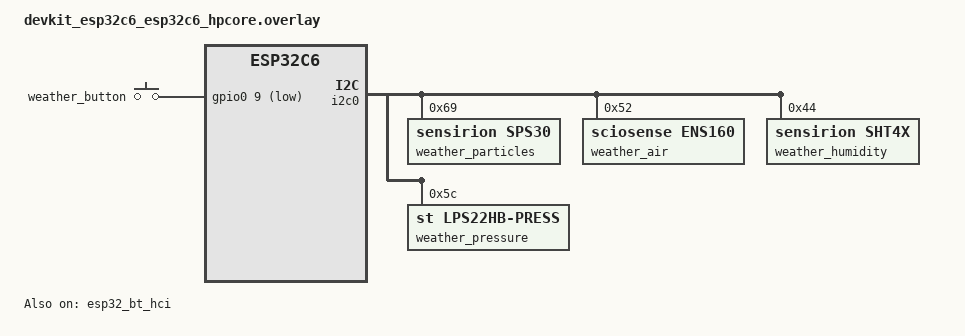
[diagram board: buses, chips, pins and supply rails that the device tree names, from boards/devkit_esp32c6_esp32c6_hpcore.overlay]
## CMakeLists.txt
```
# SPDX-License-Identifier: Apache-2.0
cmake_minimum_required(VERSION 3.20.0)
find_package(Zephyr REQUIRED HINTS $ENV{ZEPHYR_BASE})
project(weather_station)
target_sources(app PRIVATE src/main.c src/air_quality.c)
target_sources(app PRIVATE src/weather_ble.c src/ble_packets.c)
target_sources(app PRIVATE src/ble_text.c)
```

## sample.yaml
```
sample:
  name: Matrix weather station
  description: Scroll environmental readings and advance with the GPIO9 button
common:
  tags: [sensor, display, gpio, i2c]
  build_only: true
  platform_allow: [devkit_esp32c6/esp32c6/hpcore]
  integration_platforms: [devkit_esp32c6/esp32c6/hpcore]
tests:
  sample.sensor.weather_station: {}
```

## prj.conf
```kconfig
CONFIG_I2C=y
CONFIG_SENSOR=y
CONFIG_DISPLAY=y
CONFIG_GPIO=y
CONFIG_ENS160=n
CONFIG_MAIN_STACK_SIZE=4096
CONFIG_LOG=y
CONFIG_BT=y
CONFIG_BT_PERIPHERAL=y
CONFIG_BT_DEVICE_NAME="FoBE Weather"
CONFIG_BT_MAX_CONN=1
```

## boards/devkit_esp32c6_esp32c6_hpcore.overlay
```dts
/* SPDX-License-Identifier: Apache-2.0 */
/ {
	aliases {
		sw0 = &weather_button;
	};
	buttons {
		compatible = "gpio-keys";
		weather_button: button {
			gpios = <&gpio0 9 (GPIO_PULL_UP | GPIO_ACTIVE_LOW)>;
		};
	};
};

&i2c0 {
	weather_particles: sps30@69 {
		compatible = "sensirion,sps30";
		reg = <0x69>;
	};
	weather_air: ens160@52 {
		compatible = "sciosense,ens160";
		reg = <0x52>;
	};
	weather_humidity: sht40@44 {
		compatible = "sensirion,sht4x";
		reg = <0x44>;
		repeatability = <2>;
	};
	weather_pressure: lps22@5c {
		compatible = "st,lps22hb-press";
		reg = <0x5c>;
	};
};

&esp32_bt_hci {
	status = "okay";
};
```

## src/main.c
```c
/* Copyright (c) 2026 FoBE Studio
 * SPDX-License-Identifier: Apache-2.0
 */
#include <stdio.h>
#include <string.h>
#include <zephyr/drivers/display.h>
#include <zephyr/drivers/gpio.h>
#include <zephyr/kernel.h>
#include <zephyr/sys/printk.h>
#include "readings.h"
#include "weather_ble.h"

#define PAGE_COUNT  9
#define SCROLL_MS   80
#define DEBOUNCE_MS 25
#define STALE_MS    6000

static const struct device *const matrix = DEVICE_DT_GET(DT_CHOSEN(zephyr_display));
static const struct device *const humidity = DEVICE_DT_GET(DT_NODELABEL(weather_humidity));
static const struct device *const pressure = DEVICE_DT_GET(DT_NODELABEL(weather_pressure));
static const struct device *const particles = DEVICE_DT_GET(DT_NODELABEL(weather_particles));
static const enum sensor_channel pm_channels[] = {SENSOR_CHAN_PM_1_0, SENSOR_CHAN_PM_2_5,
						  SENSOR_CHAN_PM_10};
static const struct gpio_dt_spec button = GPIO_DT_SPEC_GET(DT_ALIAS(sw0), gpios);

static struct readings latest = {
	.th_error = -EAGAIN, .pressure_error = -EAGAIN, .air_error = -EAGAIN, .pm_error = -EAGAIN};
K_MUTEX_DEFINE(reading_lock);
K_SEM_DEFINE(start_sampling, 0, 1);

static void sample_sensors(void *a, void *b, void *c)
{
	struct readings next = {0};
	bool air_ready = false;

	ARG_UNUSED(a);
	ARG_UNUSED(b);
	ARG_UNUSED(c);
	k_sem_take(&start_sampling, K_FOREVER);
	while (true) {
		next.th_error = device_is_ready(humidity) ? sensor_sample_fetch(humidity) : -ENODEV;
		if (next.th_error == 0) {
			next.th_error = sensor_channel_get(humidity, SENSOR_CHAN_AMBIENT_TEMP,
							   &next.temperature);
		}
		if (next.th_error == 0) {
			next.th_error =
				sensor_channel_get(humidity, SENSOR_CHAN_HUMIDITY, &next.humidity);
		}
		next.pressure_error =
			device_is_ready(pressure) ? sensor_sample_fetch(pressure) : -ENODEV;
		if (next.pressure_error == 0) {
			next.pressure_error =
				sensor_channel_get(pressure, SENSOR_CHAN_PRESS, &next.pressure);
		}
		next.air_error = air_ready ? 0 : air_init();
		air_ready = next.air_error == 0;
		if (air_ready && next.th_error == 0) {
			int ret = air_compensate(&next.temperature, &next.humidity);

			if (ret != 0) {
				printk("WEATHER compensation rc=%d\n", ret);
			}
		}
		if (air_ready) {
			next.air_error = air_read(&next.air);
			if (next.air_error != 0 && next.air_error != -EAGAIN) {
				air_ready = false;
			}
		}
		next.pm_error =
			device_is_ready(particles) ? sensor_sample_fetch(particles) : -ENODEV;
		for (size_t i = 0; i < ARRAY_SIZE(pm_channels) && next.pm_error == 0; i++) {
			next.pm_error = sensor_channel_get(particles, pm_channels[i], &next.pm[i]);
		}
		next.sampled_at = k_uptime_get();
		k_mutex_lock(&reading_lock, K_FOREVER);
		latest = next;
		k_mutex_unlock(&reading_lock);
		weather_ble_publish(&next);
		printk("WEATHER sample th_rc=%d pressure_rc=%d air_rc=%d validity=%u pm_rc=%d\n",
		       next.th_error, next.pressure_error, next.air_error, next.air.validity,
		       next.pm_error);
		k_msleep(2000);
	}
}
K_THREAD_DEFINE(sampler, 3072, sample_sensors, NULL, NULL, NULL, 7, 0, 0);

/* Five-column glyphs, bit zero at top. Shift down one row on output so every
 * transmitted byte is even: none can form the Modulino's reserved prefixes.
 */
static const uint8_t digits[][5] = {
	{0x3e, 0x51, 0x49, 0x45, 0x3e}, {0, 0x42, 0x7f, 0x40, 0},
	{0x42, 0x61, 0x51, 0x49, 0x46}, {0x21, 0x41, 0x45, 0x4b, 0x31},
	{0x18, 0x14, 0x12, 0x7f, 0x10}, {0x27, 0x45, 0x45, 0x45, 0x39},
	{0x3c, 0x4a, 0x49, 0x49, 0x30}, {0x01, 0x71, 0x09, 0x05, 0x03},
	{0x36, 0x49, 0x49, 0x49, 0x36}, {0x06, 0x49, 0x49, 0x29, 0x1e},
};
static const uint8_t letters[][5] = {
	{0x7e, 0x11, 0x11, 0x11, 0x7e}, {0x7f, 0x49, 0x49, 0x49, 0x36},
	{0x3e, 0x41, 0x41, 0x41, 0x22}, {0x7f, 0x41, 0x41, 0x22, 0x1c},
	{0x7f, 0x49, 0x49, 0x49, 0x41}, {0x7f, 0x09, 0x09, 0x09, 0x01},
	{0x3e, 0x41, 0x49, 0x49, 0x7a}, {0x7f, 0x08, 0x08, 0x08, 0x7f},
	{0, 0x41, 0x7f, 0x41, 0},       {0x20, 0x40, 0x41, 0x3f, 0x01},
	{0x7f, 0x08, 0x14, 0x22, 0x41}, {0x7f, 0x40, 0x40, 0x40, 0x40},
	{0x7f, 0x02, 0x0c, 0x02, 0x7f}, {0x7f, 0x04, 0x08, 0x10, 0x7f},
	{0x3e, 0x41, 0x41, 0x41, 0x3e}, {0x7f, 0x09, 0x09, 0x09, 0x06},
	{0x3e, 0x41, 0x51, 0x21, 0x5e}, {0x7f, 0x09, 0x19, 0x29, 0x46},
	{0x46, 0x49, 0x49, 0x49, 0x31}, {0x01, 0x01, 0x7f, 0x01, 0x01},
	{0x3f, 0x40, 0x40, 0x40, 0x3f}, {0x1f, 0x20, 0x40, 0x20, 0x1f},
	{0x3f, 0x40, 0x38, 0x40, 0x3f}, {0x63, 0x14, 0x08, 0x14, 0x63},
	{0x07, 0x08, 0x70, 0x08, 0x07}, {0x61, 0x51, 0x49, 0x45, 0x43},
};

static uint8_t glyph(char ch, int col)
{
	if (col == 5) {
		return 0;
	}
	if (ch >= '0' && ch <= '9') {
		return digits[ch - '0'][col];
	}
	if (ch >= 'A' && ch <= 'Z') {
		return letters[ch - 'A'][col];
	}
	if (ch == '.') {
		return col == 2 ? 0x40 : 0;
	}
	if (ch == '-') {
		return 0x08;
	}
	if (ch == '/') {
		static const uint8_t slash[] = {0x60, 0x10, 0x08, 0x04, 0x03};
		return slash[col];
	}
	if (ch == '%') {
		static const uint8_t percent[] = {0x63, 0x13, 0x08, 0x64, 0x63};

		return percent[col];
	}
	return 0;
}

static void decimal_text(char *text, size_t size, const char *label, int64_t tenths,
			 const char *unit)
{
	bool negative = tenths < 0;
	int64_t magnitude = negative ? -tenths : tenths;

	snprintf(text, size, "%s %s%lld.%lld %s", label, negative ? "-" : "",
		 (long long)(magnitude / 10), (long long)(magnitude % 10), unit);
}

static void page_text(unsigned int page, char *text, size_t size)
{
	static const char *const labels[] = {"TEMP", "RH",    "PRESS", "ECO2", "TVOC",
					     "AQI",  "PM1.0", "PM2.5", "PM10"};
	struct readings value;
	int error;

	k_mutex_lock(&reading_lock, K_FOREVER);
	value = latest;
	k_mutex_unlock(&reading_lock);
	error = page < 2    ? value.th_error
		: page == 2 ? value.pressure_error
		: page < 6  ? value.air_error
			    : value.pm_error;
	if (value.sampled_at == 0 || error == -EAGAIN) {
		snprintf(text, size, "%s WAIT", labels[page]);
	} else if (error != 0 || k_uptime_get() - value.sampled_at > STALE_MS) {
		snprintf(text, size, "%s ERR", labels[page]);
	} else if (page >= 3 && page < 6 && value.air.validity != 0) {
		const char *state = value.air.validity == 1   ? "WARM"
				    : value.air.validity == 2 ? "INIT"
							      : "ERR";

		snprintf(text, size, "%s %s", labels[page], state);
	} else if (page == 0) {
		decimal_text(text, size, labels[page],
			     sensor_value_to_micro(&value.temperature) / 100000, "C");
	} else if (page == 1) {
		decimal_text(text, size, labels[page],
			     sensor_value_to_micro(&value.humidity) / 100000, "%");
	} else if (page == 2) {
		/* Sensor API pressure is kPa; display hPa with one decimal place. */
		decimal_text(text, size, labels[page],
			     sensor_value_to_micro(&value.pressure) / 10000, "HPA");
	} else if (page >= 6) {
		decimal_text(text, size, labels[page],
			     sensor_value_to_micro(&value.pm[page - 6]) / 100000, "UG/M3");
	} else {
		unsigned int number = page == 3   ? value.air.eco2
				      : page == 4 ? value.air.tvoc
						  : value.air.aqi;

		snprintf(text, size, "%s %u %s", labels[page], number,
			 page == 3   ? "PPM"
			 : page == 4 ? "PPB"
				     : "");
	}
	printk("WEATHER page=%u text=%s\n", page, text);
}

static int draw_text(const char *text, int offset)
{
	uint8_t frame[12];
	const int width = strlen(text) * 6;
	const struct display_buffer_descriptor desc = {
		.width = 12,
		.height = 8,
		.pitch = 12,
		.buf_size = sizeof(frame),
	};

	for (int x = 0; x < 12; x++) {
		int column = offset + x;

		frame[x] = column >= 0 && column < width ? glyph(text[column / 6], column % 6) << 1
							 : 0;
	}
	return display_write(matrix, 0, 0, &desc, frame);
}

int main(void)
{
	char text[64];
	unsigned int page = 0;
	int offset = 0;
	int raw;
	int stable;
	int ret;
	int64_t edge_at;
	int64_t next_frame;

	if (!device_is_ready(matrix) || !gpio_is_ready_dt(&button)) {
		printk("WEATHER_FATAL display or button not ready\n");
		return -ENODEV;
	}
	ret = gpio_pin_configure_dt(&button, GPIO_INPUT);
	if (ret == 0) {
		ret = display_set_pixel_format(matrix, PIXEL_FORMAT_MONO01);
	}
	if (ret == 0) {
		ret = draw_text("", 0);
	}
	if (ret == 0) {
		ret = display_blanking_off(matrix);
	}
	if (ret < 0) {
		printk("WEATHER_FATAL setup rc=%d\n", ret);
		return ret;
	}
	raw = gpio_pin_get_dt(&button);
	if (raw < 0) {
		return raw;
	}
	stable = raw;
	edge_at = k_uptime_get();
	next_frame = edge_at;
	ret = weather_ble_start();
	if (ret < 0) {
		printk("WEATHER BLE unavailable rc=%d\n", ret);
	}
	k_sem_give(&start_sampling);
	page_text(page, text, sizeof(text));
	printk("WEATHER_READY pages=9 button=GPIO9 active_low=1\n");
	while (true) {
		int64_t now = k_uptime_get();
		int level = gpio_pin_get_dt(&button);

		if (level < 0) {
			printk("WEATHER_FATAL button rc=%d\n", level);
			return level;
		}
		if (level != raw) {
			raw = level;
			edge_at = now;
		}
		if (raw != stable && now - edge_at >= DEBOUNCE_MS) {
			stable = raw;
			if (stable) {
				page = (page + 1) % PAGE_COUNT;
				offset = 0;
				page_text(page, text, sizeof(text));
				next_frame = now;
				printk("WEATHER_BUTTON page=%u\n", page);
			}
		}
		if (now >= next_frame) {
			ret = draw_text(text, offset++);
			if (ret < 0) {
				printk("WEATHER_FATAL display rc=%d\n", ret);
				return ret;
			}
			next_frame = now + SCROLL_MS;
			if (offset >= strlen(text) * 6 + 12) {
				page = (page + 1) % PAGE_COUNT;
				offset = 0;
				page_text(page, text, sizeof(text));
			}
		}
		k_msleep(5);
	}
}
```

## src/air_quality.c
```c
/* Copyright (c) 2026 FoBE Studio
 * SPDX-License-Identifier: Apache-2.0
 */
#include "air_quality.h"
#include <zephyr/drivers/i2c.h>
#include <zephyr/kernel.h>
#include <zephyr/sys/byteorder.h>

/* Sample owns this device: CONFIG_ENS160 is disabled. Unlike the workspace
 * driver, preserve conditioning states instead of failing initialization.
 * Register contract: ScioSense ENS160 datasheet v1.3, sections 16.2.1-16.2.10.
 */
static const struct i2c_dt_spec bus = I2C_DT_SPEC_GET(DT_NODELABEL(weather_air));

int air_init(void)
{
	uint8_t id[2];
	int ret;

	if (!i2c_is_ready_dt(&bus)) {
		return -ENODEV;
	}
	ret = i2c_burst_read_dt(&bus, 0x00, id, sizeof(id));
	if (ret < 0) {
		return ret;
	}
	if (sys_get_le16(id) != 0x0160) {
		return -ENODEV;
	}
	ret = i2c_reg_write_byte_dt(&bus, 0x10, 0x01); /* Idle */
	if (ret < 0) {
		return ret;
	}
	k_msleep(10);
	ret = i2c_reg_write_byte_dt(&bus, 0x10, 0x02); /* Standard */
	k_msleep(10);
	return ret;
}

int air_compensate(const struct sensor_value *temperature, const struct sensor_value *humidity)
{
	int64_t temp = sensor_value_to_micro(temperature);
	int64_t rh = sensor_value_to_micro(humidity);
	uint8_t values[4];

	if (temp < -5000000 || temp > 60000000 || rh < 20000000 || rh > 80000000) {
		return -ERANGE;
	}
	sys_put_le16((temp + 273150000) * 64 / 1000000, values);
	sys_put_le16(rh * 512 / 1000000, values + 2);
	return i2c_burst_write_dt(&bus, 0x13, values, sizeof(values));
}

int air_read(struct air_reading *reading)
{
	uint8_t status;
	uint8_t values[5];
	int ret = i2c_reg_read_byte_dt(&bus, 0x20, &status);

	if (ret < 0) {
		return ret;
	}
	reading->validity = (status >> 2) & 3;
	if ((status & BIT(6)) || !(status & BIT(7))) {
		return -EIO;
	}
	if (reading->validity != 0) {
		return 0;
	}
	if (!(status & BIT(1))) {
		return -EAGAIN;
	}
	ret = i2c_burst_read_dt(&bus, 0x21, values, sizeof(values));
	if (ret < 0) {
		return ret;
	}
	reading->aqi = values[0] & 7;
	reading->tvoc = sys_get_le16(values + 1);
	reading->eco2 = sys_get_le16(values + 3);
	return reading->aqi >= 1 && reading->aqi <= 5 ? 0 : -EBADMSG;
}
```

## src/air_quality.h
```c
/* SPDX-License-Identifier: Apache-2.0 */
#ifndef WEATHER_AIR_QUALITY_H_
#define WEATHER_AIR_QUALITY_H_
#include <zephyr/drivers/sensor.h>

struct air_reading {
	uint16_t eco2;
	uint16_t tvoc;
	uint8_t aqi;
	uint8_t validity;
};

int air_init(void);
int air_compensate(const struct sensor_value *temperature, const struct sensor_value *humidity);
/* -EAGAIN means no new sample. Validity 1/2 means conditioning, 3 invalid. */
int air_read(struct air_reading *reading);
#endif
```

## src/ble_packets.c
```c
/* Copyright (c) 2026 FoBE Studio
 * SPDX-License-Identifier: Apache-2.0
 */
#include <string.h>
#include <zephyr/sys/byteorder.h>
#include "ble_packets.h"

const uint8_t weather_packet_sizes[WEATHER_PACKET_COUNT] = {16, 14, 20};

void weather_encode(const struct readings *value, uint16_t sequence,
		    uint8_t packets[WEATHER_PACKET_COUNT][WEATHER_PACKET_MAX])
{
	memset(packets, 0, WEATHER_PACKET_COUNT * WEATHER_PACKET_MAX);
	for (size_t i = 0; i < WEATHER_PACKET_COUNT; i++) {
		packets[i][0] = 1;
		sys_put_le16(sequence, packets[i] + 2);
		sys_put_le32((uint32_t)value->sampled_at, packets[i] + 4);
	}
	packets[1][13] = 0xff;
	if (value->sampled_at == 0) {
		return;
	}
	if (value->th_error == 0) {
		int64_t t = sensor_value_to_micro(&value->temperature) / 10000;
		int64_t rh = sensor_value_to_micro(&value->humidity) / 10000;

		if (t >= INT16_MIN && t <= INT16_MAX && rh >= 0 && rh <= 10000) {
			packets[0][1] |= BIT(0);
			sys_put_le16((uint16_t)(int16_t)t, packets[0] + 8);
			sys_put_le16(rh, packets[0] + 10);
		}
	}
	if (value->pressure_error == 0) {
		int64_t pa = sensor_value_to_micro(&value->pressure) / 1000;

		if (pa >= 0 && pa <= UINT32_MAX) {
			packets[0][1] |= BIT(1);
			sys_put_le32(pa, packets[0] + 12);
		}
	}
	/* 0xff: no trustworthy validity report, including a failed fetch. */
	packets[1][13] = value->air_error == 0 ? value->air.validity : 0xff;
	if (value->air_error == 0 && value->air.validity == 0) {
		packets[1][1] = BIT(0);
		sys_put_le16(value->air.eco2, packets[1] + 8);
		sys_put_le16(value->air.tvoc, packets[1] + 10);
		packets[1][12] = value->air.aqi;
	}
	if (value->pm_error == 0) {
		bool valid = true;

		for (size_t i = 0; i < 3; i++) {
			int64_t milli = sensor_value_to_micro(&value->pm[i]) / 1000;

			if (milli < 0 || milli > UINT32_MAX) {
				valid = false;
				break;
			}
			sys_put_le32(milli, packets[2] + 8 + i * 4);
		}
		packets[2][1] = valid ? BIT(0) : 0;
	}
}
```

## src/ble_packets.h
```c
/* SPDX-License-Identifier: Apache-2.0 */
#ifndef WEATHER_BLE_PACKETS_H_
#define WEATHER_BLE_PACKETS_H_
#include "readings.h"
#define WEATHER_PACKET_COUNT 3
#define WEATHER_PACKET_MAX   20
extern const uint8_t weather_packet_sizes[WEATHER_PACKET_COUNT];
void weather_encode(const struct readings *value, uint16_t sequence,
		    uint8_t packets[WEATHER_PACKET_COUNT][WEATHER_PACKET_MAX]);
#endif
```

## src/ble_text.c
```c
/* Copyright (c) 2026 FoBE Studio
 * SPDX-License-Identifier: Apache-2.0
 */
#include <stdio.h>
#include <string.h>
#include <zephyr/sys/byteorder.h>
#include "ble_text.h"

size_t weather_text(size_t index, const uint8_t packets[WEATHER_PACKET_COUNT][WEATHER_PACKET_MAX],
		    char text[WEATHER_TEXT_MAX + 1])
{
	static const char *const labels[] = {"TEMP", "RH",    "PRESS", "eCO2", "TVOC",
					     "AQI",  "PM1.0", "PM2.5", "PM10"};
	const size_t size = WEATHER_TEXT_MAX + 1;
	const uint8_t *packet;
	const char *state = NULL;
	int written;

	if (index >= WEATHER_TEXT_COUNT) {
		text[0] = '\0';
		return 0;
	}
	packet = packets[index < 3 ? 0 : index < 6 ? 1 : 2];
	if (packet[2] == 0 && packet[3] == 0 && sys_get_le32(packet + 4) == 0) {
		state = "WAIT";
	} else if (!(packet[1] & BIT(index == 2 ? 1 : 0))) {
		state = "N/A";
		if (index >= 3 && index < 6) {
			if (packet[13] == 1) {
				state = "WARM";
			} else if (packet[13] == 2) {
				state = "INIT";
			}
		}
	}
	if (state != NULL) {
		written = snprintf(text, size, "%s %s", labels[index], state);
	} else if (index < 3) {
		int64_t centi = index == 0   ? (int64_t)(int16_t)sys_get_le16(packet + 8)
				: index == 1 ? sys_get_le16(packet + 10)
					     : sys_get_le32(packet + 12);
		bool negative = centi < 0;
		uint32_t magnitude = negative ? -centi : centi;

		/* Pa is also hundredths of hPa. */
		written = snprintf(text, size, "%s %s%u.%02u %s", labels[index],
				   negative ? "-" : "", magnitude / 100, magnitude % 100,
				   index == 0   ? "C"
				   : index == 1 ? "%"
						: "hPa");
	} else if (index < 6) {
		unsigned int value = index == 3   ? sys_get_le16(packet + 8)
				     : index == 4 ? sys_get_le16(packet + 10)
						  : packet[12];

		written = snprintf(text, size, "%s %u%s", labels[index], value,
				   index == 3   ? " ppm"
				   : index == 4 ? " ppb"
						: "");
	} else {
		uint32_t milli = sys_get_le32(packet + 8 + (index - 6) * 4);

		written = snprintf(text, size, "%s %u.%03u ug/m3", labels[index], milli / 1000,
				   milli % 1000);
	}
	/* Never publish a truncated number/unit or require a larger ATT MTU. */
	if (written < 0 || written > WEATHER_TEXT_MAX) {
		snprintf(text, size, "%s RANGE", labels[index]);
	}
	return strlen(text);
}
```

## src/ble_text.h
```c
/* SPDX-License-Identifier: Apache-2.0 */
#ifndef WEATHER_BLE_TEXT_H_
#define WEATHER_BLE_TEXT_H_
#include "ble_packets.h"
#define WEATHER_TEXT_COUNT 9
#define WEATHER_TEXT_MAX   20
/* ASCII, also valid UTF-8. Returns bytes excluding the terminating NUL. */
size_t weather_text(size_t index, const uint8_t packets[WEATHER_PACKET_COUNT][WEATHER_PACKET_MAX],
		    char text[WEATHER_TEXT_MAX + 1]);
#endif
```

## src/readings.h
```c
/* SPDX-License-Identifier: Apache-2.0 */
#ifndef WEATHER_READINGS_H_
#define WEATHER_READINGS_H_
#include "air_quality.h"
struct readings {
	struct sensor_value temperature;
	struct sensor_value humidity;
	struct sensor_value pressure;
	struct air_reading air;
	struct sensor_value pm[3];
	int pm_error;
	int th_error;
	int pressure_error;
	int air_error;
	int64_t sampled_at;
};

#endif
```

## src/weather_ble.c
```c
/* Copyright (c) 2026 FoBE Studio
 * SPDX-License-Identifier: Apache-2.0
 */
#include <string.h>
#include <zephyr/bluetooth/bluetooth.h>
#include <zephyr/bluetooth/conn.h>
#include <zephyr/bluetooth/gatt.h>
#include <zephyr/kernel.h>
#include <zephyr/sys/printk.h>
#include "ble_packets.h"
#include "ble_text.h"
#include "weather_ble.h"

#define WEATHER_UUID(n) BT_UUID_128_ENCODE(0x8e7a0000 + (n), 0x6d4b, 0x4f23, 0x9a71, 0x5c2e9f0b3401)
static struct bt_uuid_128 service_uuid = BT_UUID_INIT_128(WEATHER_UUID(0));
static struct bt_uuid_128 env_uuid = BT_UUID_INIT_128(WEATHER_UUID(1));
static struct bt_uuid_128 air_uuid = BT_UUID_INIT_128(WEATHER_UUID(2));
static struct bt_uuid_128 pm_uuid = BT_UUID_INIT_128(WEATHER_UUID(3));
static struct bt_uuid_128 text_uuids[] = {
	BT_UUID_INIT_128(WEATHER_UUID(0x11)), BT_UUID_INIT_128(WEATHER_UUID(0x12)),
	BT_UUID_INIT_128(WEATHER_UUID(0x13)), BT_UUID_INIT_128(WEATHER_UUID(0x14)),
	BT_UUID_INIT_128(WEATHER_UUID(0x15)), BT_UUID_INIT_128(WEATHER_UUID(0x16)),
	BT_UUID_INIT_128(WEATHER_UUID(0x17)), BT_UUID_INIT_128(WEATHER_UUID(0x18)),
	BT_UUID_INIT_128(WEATHER_UUID(0x19))};
static uint8_t snapshot[WEATHER_PACKET_COUNT][WEATHER_PACKET_MAX];
static int64_t sampled_at;
static uint16_t sequence;
static bool enabled;
K_MUTEX_DEFINE(snapshot_lock);

static ssize_t read_packet(struct bt_conn *conn, const struct bt_gatt_attr *attr, void *buf,
			   uint16_t len, uint16_t offset)
{
	size_t index = (uintptr_t)attr->user_data;
	uint8_t packet[WEATHER_PACKET_MAX];

	k_mutex_lock(&snapshot_lock, K_FOREVER);
	memcpy(packet, snapshot[index], sizeof(packet));
	if (sampled_at == 0 || k_uptime_get() - sampled_at > 6000) {
		packet[1] = 0;
	}
	k_mutex_unlock(&snapshot_lock);
	return bt_gatt_attr_read(conn, attr, buf, len, offset, packet, weather_packet_sizes[index]);
}

static ssize_t read_text(struct bt_conn *conn, const struct bt_gatt_attr *attr, void *buf,
			 uint16_t len, uint16_t offset)
{
	uint8_t packets[WEATHER_PACKET_COUNT][WEATHER_PACKET_MAX];
	char text[WEATHER_TEXT_MAX + 1];
	size_t text_len;
	k_mutex_lock(&snapshot_lock, K_FOREVER);
	memcpy(packets, snapshot, sizeof(packets));
	if (sampled_at != 0 && k_uptime_get() - sampled_at > 6000) {
		for (size_t i = 0; i < WEATHER_PACKET_COUNT; i++) {
			packets[i][1] = 0;
		}
		packets[1][13] = 0xff;
	}
	k_mutex_unlock(&snapshot_lock);
	text_len = weather_text((uintptr_t)attr->user_data, packets, text);
	return bt_gatt_attr_read(conn, attr, buf, len, offset, text, text_len);
}

#define WEATHER_TEXT_CHARACTERISTIC(index, label)                                                  \
	BT_GATT_CHARACTERISTIC(&text_uuids[index].uuid, BT_GATT_CHRC_READ | BT_GATT_CHRC_NOTIFY,   \
			       BT_GATT_PERM_READ, read_text, NULL, (void *)(uintptr_t)(index)),    \
		BT_GATT_CCC(NULL, BT_GATT_PERM_READ | BT_GATT_PERM_WRITE),                         \
		BT_GATT_CUD(label, BT_GATT_PERM_READ)

#define WEATHER_CHARACTERISTIC(uuid, index)                                                        \
	BT_GATT_CHARACTERISTIC(uuid, BT_GATT_CHRC_READ | BT_GATT_CHRC_NOTIFY, BT_GATT_PERM_READ,   \
			       read_packet, NULL, (void *)(uintptr_t)(index)),                     \
		BT_GATT_CCC(NULL, BT_GATT_PERM_READ | BT_GATT_PERM_WRITE)

BT_GATT_SERVICE_DEFINE(
	weather_svc, BT_GATT_PRIMARY_SERVICE(&service_uuid),
	WEATHER_CHARACTERISTIC(&env_uuid.uuid, 0), WEATHER_CHARACTERISTIC(&air_uuid.uuid, 1),
	WEATHER_CHARACTERISTIC(&pm_uuid.uuid, 2),
	WEATHER_TEXT_CHARACTERISTIC(0, "Temperature text"),
	WEATHER_TEXT_CHARACTERISTIC(1, "Humidity text"),
	WEATHER_TEXT_CHARACTERISTIC(2, "Pressure text"),
	WEATHER_TEXT_CHARACTERISTIC(3, "eCO2 text"), WEATHER_TEXT_CHARACTERISTIC(4, "TVOC text"),
	WEATHER_TEXT_CHARACTERISTIC(5, "AQI text"), WEATHER_TEXT_CHARACTERISTIC(6, "PM1.0 text"),
	WEATHER_TEXT_CHARACTERISTIC(7, "PM2.5 text"), WEATHER_TEXT_CHARACTERISTIC(8, "PM10 text"));

static const struct bt_data advertising[] = {
	BT_DATA_BYTES(BT_DATA_FLAGS, BT_LE_AD_GENERAL | BT_LE_AD_NO_BREDR),
	BT_DATA_BYTES(BT_DATA_UUID128_ALL, WEATHER_UUID(0)),
};
static const struct bt_data scan_response[] = {
	BT_DATA(BT_DATA_NAME_COMPLETE, CONFIG_BT_DEVICE_NAME, sizeof(CONFIG_BT_DEVICE_NAME) - 1),
};

static void advertise(struct k_work *work)
{
	int ret;

	ARG_UNUSED(work);
	ret = bt_le_adv_start(BT_LE_ADV_CONN_FAST_1, advertising, ARRAY_SIZE(advertising),
			      scan_response, ARRAY_SIZE(scan_response));
	printk("WEATHER_BLE advertising rc=%d name=%s\n", ret, CONFIG_BT_DEVICE_NAME);
}
K_WORK_DEFINE(advertise_work, advertise);

static void connected(struct bt_conn *conn, uint8_t err)
{
	ARG_UNUSED(conn);
	printk("WEATHER_BLE connected err=%u\n", err);
}
static void disconnected(struct bt_conn *conn, uint8_t reason)
{
	ARG_UNUSED(conn);
	printk("WEATHER_BLE disconnected reason=%u\n", reason);
}
static void recycled(void)
{
	k_work_submit(&advertise_work);
}
BT_CONN_CB_DEFINE(callbacks) = {
	.connected = connected,
	.disconnected = disconnected,
	.recycled = recycled,
};

int weather_ble_start(void)
{
	const struct readings empty = {0};
	int ret;

	weather_encode(&empty, 0, snapshot);
	ret = bt_enable(NULL);
	if (ret < 0) {
		return ret;
	}
	enabled = true;
	k_work_submit(&advertise_work);
	return 0;
}

void weather_ble_publish(const struct readings *value)
{
	uint8_t packets[WEATHER_PACKET_COUNT][WEATHER_PACKET_MAX];
	static const uint8_t attributes[] = {2, 5, 8};

	if (!enabled) {
		return;
	}
	weather_encode(value, ++sequence, packets);
	k_mutex_lock(&snapshot_lock, K_FOREVER);
	memcpy(snapshot, packets, sizeof(snapshot));
	sampled_at = value->sampled_at;
	k_mutex_unlock(&snapshot_lock);
	for (size_t i = 0; i < WEATHER_PACKET_COUNT; i++) {
		int ret = bt_gatt_notify(NULL, &weather_svc.attrs[attributes[i]], packets[i],
					 weather_packet_sizes[i]);

		if (ret != 0 && ret != -ENOTCONN) {
			printk("WEATHER_BLE notify index=%u rc=%d\n", (unsigned int)i, ret);
		}
	}
	for (size_t i = 0; i < WEATHER_TEXT_COUNT; i++) {
		char text[WEATHER_TEXT_MAX + 1];
		size_t len = weather_text(i, packets, text);
		/* Binary service occupies attributes 0..9, each text adds four. */
		int ret = bt_gatt_notify(NULL, &weather_svc.attrs[11 + 4 * i], text, len);
		if (ret != 0 && ret != -ENOTCONN) {
			printk("WEATHER_BLE text notify index=%u rc=%d\n", (unsigned int)i, ret);
		}
	}
}
```

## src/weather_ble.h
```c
/* SPDX-License-Identifier: Apache-2.0 */
#ifndef WEATHER_BLE_H_
#define WEATHER_BLE_H_
#include "readings.h"
int weather_ble_start(void);
void weather_ble_publish(const struct readings *value);
#endif
```
